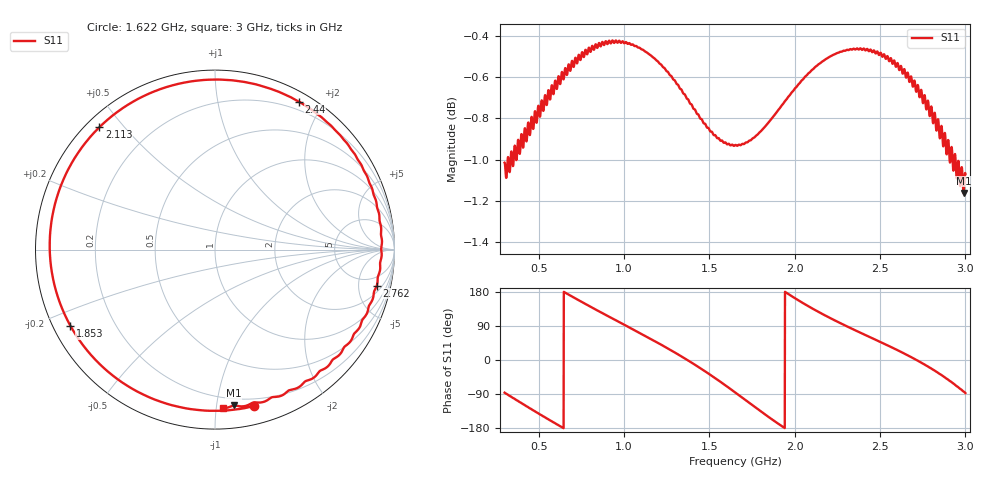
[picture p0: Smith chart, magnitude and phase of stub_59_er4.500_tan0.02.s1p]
! Chirptenna · simulación 3D de un stub abierto
# HZ S RI R 50
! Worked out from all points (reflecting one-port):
!   2001 points, 300 MHz to 3 GHz, reference 50 ohm
!   lowest |S11| = -1.2 dB at 2.989 GHz (marker M1), VSWR 14.97, Z = 7.55 - j55.8 ohm
!   phase of S11 starts at -86 deg and turns -721 deg over the sweep
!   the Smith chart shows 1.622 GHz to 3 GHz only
!   S11 on the Smith chart (normalised r, x): 1.622 GHz: 0.14, -1.27; 1.853 GHz: 0.05, -0.25; 2.113 GHz: 0.04, +0.43; 2.44 GHz: 0.11, +1.71; 2.762 GHz: 2.95, -8.04; 3 GHz: 0.13, -1.04
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3e8  0.058 -0.8878
4.4715e8  -0.5476 -0.7187
5.4705e8  -0.8268 -0.4008
6.375e8  -0.9352 -0.0346
7.833e8  -0.7791 0.5353
8.832e8  -0.4929 0.8124
9.75e8  -0.1528 0.9399
1.13565e9  0.4635 0.8249
1.3125e9  0.8943 0.2535
1.3881e9  0.9163 -0.0771
1.4637e9  0.8137 -0.4072
1.54875e9  0.549 -0.7156
1.62165e9  0.2181 -0.8716
1.65e9  0.0743 -0.8954
1.7445e9  -0.4061 -0.8044
1.8525e9  -0.8055 -0.4246
1.91865e9  -0.9109 -0.1148
1.9875e9  -0.9018 0.2093
2.11305e9  -0.6444 0.6816
2.217e9  -0.3001 0.8957
2.325e9  0.0881 0.944
2.43975e9  0.4662 0.8248
2.55585e9  0.7616 0.5542
2.6625e9  0.9146 0.1974
2.7624e9  0.9015 -0.2003
2.86905e9  0.6591 -0.6102
2.9892e9  0.1051 -0.8684
3e9  0.0423 -0.8829
